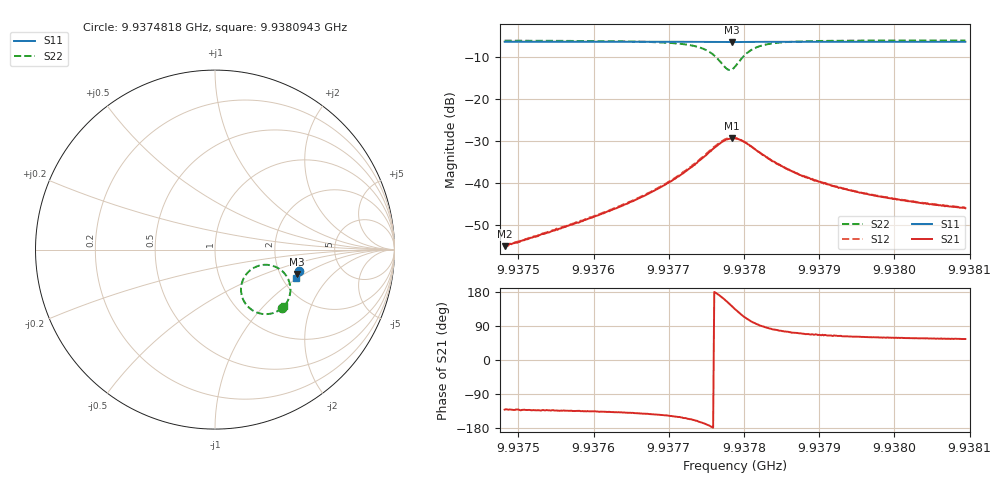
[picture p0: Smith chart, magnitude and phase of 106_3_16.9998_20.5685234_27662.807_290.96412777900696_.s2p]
#  HZ  S  RI  R  50.00
! Rohde & Schwarz Vector Network Analyzer
! Rohde-Schwarz,ZNB20-2Port,1311601062101988,3.16
! Created: UTC 3/20/2024, 10:56:51 PM
! freq[Hz]  re:S11  im:S11  re:S21  im:S21  re:S12  im:S12  re:S22  im:S22
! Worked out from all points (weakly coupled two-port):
!   401 points, 9.9374818 GHz to 9.9380943 GHz, reference 50 ohm
!   highest |S21| = -29.30 dB at 9.9377835 GHz (marker M1); lowest = -55.0 dB at 9.9374818 GHz (marker M2)
!   lowest |S11| = -6.4 dB at 9.9377835 GHz (marker M3), VSWR 2.83, Z = 123 - j43.5 ohm
!   |S11| at or under -10 dB: nowhere
!   |S22| runs from -13.1 to -6.0 dB; largest |S21 - S12| = 0.0017
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9.93748184e9  0.4679 -0.118  -0.00117 -0.00134  -0.00119 -0.00136  0.3754 -0.3245
9.93758443e9  0.4657 -0.125  -0.00249 -0.0025  -0.00256 -0.00252  0.3585 -0.337
9.93764568e9  0.4642 -0.1293  -0.00436 -0.00376  -0.0045 -0.00376  0.3386 -0.3478
9.93768702e9  0.4629 -0.1322  -0.0071 -0.00508  -0.00733 -0.00506  0.3127 -0.3563
9.93770692e9  0.4621 -0.1337  -0.00951 -0.00577  -0.00983 -0.00569  0.2913 -0.3593
9.9377253e9  0.4613 -0.135  -0.0131 -0.00604  -0.0136 -0.006  0.2613 -0.3581
9.93774827e9  0.4598 -0.1365  -0.0206 -0.00432  -0.0214 -0.00389  0.201 -0.3327
9.93775898e9  0.4589 -0.1368  -0.0256 -0.000655  -0.0264 0.000145  0.1661 -0.2955
9.9377697e9  0.458 -0.1368  -0.0296 0.00689  -0.0303 0.00808  0.145 -0.2284
9.93777736e9  0.4575 -0.1364  -0.0299 0.0144  -0.03 0.0161  0.1566 -0.1668
9.93778348e9  0.4574 -0.136  -0.0273 0.0208  -0.0268 0.0222  0.188 -0.1221
9.93778808e9  0.4577 -0.1358  -0.0238 0.0245  -0.0231 0.0258  0.2219 -0.0986
9.93779573e9  0.4584 -0.1357  -0.0167 0.0281  -0.0158 0.0287  0.2837 -0.0845
9.93780339e9  0.459 -0.1361  -0.01 0.0283  -0.00907 0.0285  0.3362 -0.0954
9.93781104e9  0.4594 -0.1366  -0.00476 0.0264  -0.004 0.0265  0.3724 -0.1178
9.93782023e9  0.4598 -0.1374  -0.000887 0.0233  -5.67e-05 0.0235  0.3982 -0.1475
9.93785392e9  0.4597 -0.1406  0.00395 0.0148  0.00417 0.0148  0.4203 -0.2226
9.93789067e9  0.4589 -0.1434  0.00417 0.0103  0.00455 0.0103  0.4151 -0.2606
9.93791823e9  0.4582 -0.1455  0.00418 0.00826  0.00426 0.00825  0.4095 -0.2765
9.93795651e9  0.4573 -0.1482  0.00374 0.00669  0.00385 0.00666  0.4027 -0.2904
9.93799326e9  0.4564 -0.1506  0.00342 0.00568  0.00354 0.00565  0.3974 -0.2999
9.93809432e9  0.4538 -0.1572  0.00286 0.00414  0.00296 0.00416  0.3858 -0.3157
